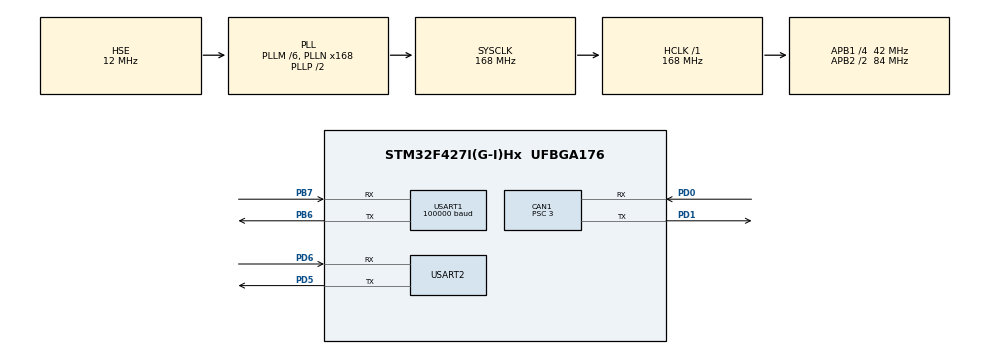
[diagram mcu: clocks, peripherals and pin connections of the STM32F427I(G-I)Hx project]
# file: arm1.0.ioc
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CAN1.BS1=CAN_BS1_10TQ
CAN1.BS2=CAN_BS2_3TQ
CAN1.CalculateBaudRate=1000000
CAN1.CalculateTimeBit=1000
CAN1.CalculateTimeQuantum=71.42857142857143
CAN1.Prescaler=3
Dma.Request0=USART2_RX
Dma.Request1=USART1_RX
Dma.Request2=USART2_TX
Dma.USART1_RX.1.Direction=DMA_PERIPH_TO_MEMORY
Dma.USART1_RX.1.FIFOMode=DMA_FIFOMODE_DISABLE
Dma.USART1_RX.1.Instance=DMA2_Stream2
Dma.USART1_RX.1.MemDataAlignment=DMA_MDATAALIGN_BYTE
Dma.USART1_RX.1.MemInc=DMA_MINC_ENABLE
Dma.USART1_RX.1.Mode=DMA_NORMAL
Dma.USART1_RX.1.PeriphDataAlignment=DMA_PDATAALIGN_BYTE
Dma.USART1_RX.1.PeriphInc=DMA_PINC_DISABLE
Dma.USART1_RX.1.Priority=DMA_PRIORITY_LOW
Dma.USART2_RX.0.Direction=DMA_PERIPH_TO_MEMORY
Dma.USART2_RX.0.FIFOMode=DMA_FIFOMODE_DISABLE
Dma.USART2_RX.0.Instance=DMA1_Stream5
Dma.USART2_RX.0.MemDataAlignment=DMA_MDATAALIGN_BYTE
Dma.USART2_RX.0.MemInc=DMA_MINC_ENABLE
Dma.USART2_RX.0.Mode=DMA_NORMAL
Dma.USART2_RX.0.PeriphDataAlignment=DMA_PDATAALIGN_BYTE
Dma.USART2_RX.0.PeriphInc=DMA_PINC_DISABLE
Dma.USART2_RX.0.Priority=DMA_PRIORITY_LOW
Dma.USART2_TX.2.Direction=DMA_MEMORY_TO_PERIPH
Dma.USART2_TX.2.FIFOMode=DMA_FIFOMODE_DISABLE
Dma.USART2_TX.2.Instance=DMA1_Stream6
Dma.USART2_TX.2.MemDataAlignment=DMA_MDATAALIGN_BYTE
Dma.USART2_TX.2.MemInc=DMA_MINC_ENABLE
Dma.USART2_TX.2.Mode=DMA_NORMAL
Dma.USART2_TX.2.PeriphDataAlignment=DMA_PDATAALIGN_BYTE
Dma.USART2_TX.2.PeriphInc=DMA_PINC_DISABLE
Dma.USART2_TX.2.Priority=DMA_PRIORITY_LOW
Mcu.Family=STM32F4
Mcu.Name=STM32F427I(G-I)Hx
Mcu.Package=UFBGA176
NVIC.CAN1_RX0_IRQn=true\:0\:0\:false\:false\:true\:true\:true\:true
NVIC.DMA1_Stream5_IRQn=true\:0\:0\:false\:false\:true\:false\:true\:true
NVIC.DMA1_Stream6_IRQn=true\:0\:0\:false\:false\:true\:false\:true\:true
NVIC.DMA2_Stream2_IRQn=true\:0\:0\:false\:false\:true\:false\:true\:true
NVIC.PriorityGroup=NVIC_PRIORITYGROUP_4
NVIC.USART1_IRQn=true\:0\:0\:false\:false\:true\:true\:true\:true
NVIC.USART2_IRQn=true\:0\:0\:false\:false\:true\:true\:true\:true
PA13.Mode=Serial_Wire
PA13.Signal=SYS_JTMS-SWDIO
PA14.Mode=Serial_Wire
PA14.Signal=SYS_JTCK-SWCLK
PB6.Mode=Asynchronous
PB6.Signal=USART1_TX
PB7.Mode=Asynchronous
PB7.Signal=USART1_RX
PD0.Mode=CAN_Activate
PD0.Signal=CAN1_RX
PD1.Mode=CAN_Activate
PD1.Signal=CAN1_TX
PD5.Mode=Asynchronous
PD5.Signal=USART2_TX
PD6.Mode=Asynchronous
PD6.Signal=USART2_RX
PH0/OSC_IN.Mode=HSE-External-Oscillator
PH0/OSC_IN.Signal=RCC_OSC_IN
PH1/OSC_OUT.Mode=HSE-External-Oscillator
PH1/OSC_OUT.Signal=RCC_OSC_OUT
ProjectManager.HeapSize=0x200
ProjectManager.StackSize=0x400
ProjectManager.TargetToolchain=MDK-ARM V5.32
RCC.48MHZClocksFreq_Value=84000000
RCC.AHBFreq_Value=168000000
RCC.APB1CLKDivider=RCC_HCLK_DIV4
RCC.APB1Freq_Value=42000000
RCC.APB1TimFreq_Value=84000000
RCC.APB2CLKDivider=RCC_HCLK_DIV2
RCC.APB2Freq_Value=84000000
RCC.APB2TimFreq_Value=168000000
RCC.CortexFreq_Value=168000000
RCC.HCLKFreq_Value=168000000
RCC.HSE_VALUE=12000000
RCC.HSI_VALUE=16000000
RCC.LSE_VALUE=32768
RCC.PLLM=6
RCC.PLLN=168
RCC.PLLSourceVirtual=RCC_PLLSOURCE_HSE
RCC.SYSCLKFreq_VALUE=168000000
RCC.SYSCLKSource=RCC_SYSCLKSOURCE_PLLCLK
RCC.VCOOutputFreq_Value=336000000
USART1.BaudRate=100000
USART1.Mode=MODE_RX
USART1.Parity=PARITY_EVEN
USART1.StopBits=STOPBITS_2
USART1.VirtualMode=VM_ASYNC
USART1.WordLength=WORDLENGTH_9B
USART2.VirtualMode=VM_ASYNC
board=custom

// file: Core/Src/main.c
/* USER CODE BEGIN Header */
/**
 ******************************************************************************
 * @file           : main.c
 * @brief          : Main program body
 ******************************************************************************
 * @attention
 *
 * Copyright (c) 2026 STMicroelectronics.
 * All rights reserved.
 *
 * This software is licensed under terms that can be found in the LICENSE file
 * in the root directory of this software component.
 * If no LICENSE file comes with this software, it is provided AS-IS.
 *
 ******************************************************************************
 */
/* USER CODE END Header */
#include "main.h"
#include "can.h"
#include "dma.h"
#include "usart.h"
#include "gpio.h"

/* USER CODE BEGIN Includes */
#include "stdio.h"
#include "bsp_can.h"
#include "DMmotor.h"
#include "sbus.h"
#include "protocol.h"
/* USER CODE END Includes */

/* USER CODE BEGIN PD */
// int fputc(int ch, FILE *f)
//{
//   HAL_UART_Transmit(&huart2, (uint8_t *)&ch, 1, HAL_MAX_DELAY);
//   return ch;
// }
/* USER CODE END PD */

void SystemClock_Config(void);

int main(void)
{

  /* MCU Configuration--------------------------------------------------------*/

  /* Reset of all peripherals, Initializes the Flash interface and the Systick. */
  HAL_Init();

  /* Configure the system clock */
  SystemClock_Config();

  /* Initialize all configured peripherals */
  MX_GPIO_Init();
  MX_DMA_Init();
  MX_CAN1_Init();
  MX_USART1_UART_Init();
  MX_USART2_UART_Init();
  /* USER CODE BEGIN 2 */
  Protocol_Init();                                   // 初始化协�????
  Can_Filter_Init();                                 // 初始化滤波器
  DMmotor_init_all();                                // 初始化电�?????
  arm_init();                                        // 初始化机械臂
  HAL_UART_Receive_DMA(&huart1, sbus_rx_buffer, 25); // �?????启DMA接收
  g_actual_angles[motor[0].id - 1] = 1.0f;
  /* USER CODE END 2 */

  /* Infinite loop */
  /* USER CODE BEGIN WHILE */
  while (1)
  {
    Protocol_Process(); // 协议处理

    // if (is_arm_init == 1)
    // {
    //     if (sbus_rx_data.channel0 != 0 &&
    //         sbus_rx_data.channel1 != 0 &&
    //         sbus_rx_data.channel2 != 0 &&
    //         sbus_rx_data.channel3 != 0 &&
    //         sbus_rx_data.sw0 != 0 &&
    //         sbus_rx_data.sw1 != 0 &&
    //         sbus_rx_data.sw2 != 0 &&
    //         sbus_rx_data.sw3 != 0)
    //     {
    //         all_motor_crtl();
    //     }
    //     else
    //     {
    //         pos[0] = 0.0f;
    //         pos[1] = 0.0f;
    //         pos[2] = 0.0f;
    //         pos[3] = 0.0f;
    //     }
    // }
    all_motor_crtl();
    /* USER CODE END WHILE */

  }
}

void SystemClock_Config(void)
{
  RCC_OscInitTypeDef RCC_OscInitStruct = {0};
  RCC_ClkInitTypeDef RCC_ClkInitStruct = {0};

  /** Configure the main internal regulator output voltage
  */
  __HAL_RCC_PWR_CLK_ENABLE();
  __HAL_PWR_VOLTAGESCALING_CONFIG(PWR_REGULATOR_VOLTAGE_SCALE1);

  /** Initializes the RCC Oscillators according to the specified parameters
  * in the RCC_OscInitTypeDef structure.
  */
  RCC_OscInitStruct.OscillatorType = RCC_OSCILLATORTYPE_HSE;
  RCC_OscInitStruct.HSEState = RCC_HSE_ON;
  RCC_OscInitStruct.PLL.PLLState = RCC_PLL_ON;
  RCC_OscInitStruct.PLL.PLLSource = RCC_PLLSOURCE_HSE;
  RCC_OscInitStruct.PLL.PLLM = 6;
  RCC_OscInitStruct.PLL.PLLN = 168;
  RCC_OscInitStruct.PLL.PLLP = RCC_PLLP_DIV2;
  RCC_OscInitStruct.PLL.PLLQ = 4;
  if (HAL_RCC_OscConfig(&RCC_OscInitStruct) != HAL_OK)
  {
    Error_Handler();
  }

  /** Initializes the CPU, AHB and APB buses clocks
  */
  RCC_ClkInitStruct.ClockType = RCC_CLOCKTYPE_HCLK|RCC_CLOCKTYPE_SYSCLK
                              |RCC_CLOCKTYPE_PCLK1|RCC_CLOCKTYPE_PCLK2;
  RCC_ClkInitStruct.SYSCLKSource = RCC_SYSCLKSOURCE_PLLCLK;
  RCC_ClkInitStruct.AHBCLKDivider = RCC_SYSCLK_DIV1;
  RCC_ClkInitStruct.APB1CLKDivider = RCC_HCLK_DIV4;
  RCC_ClkInitStruct.APB2CLKDivider = RCC_HCLK_DIV2;

  if (HAL_RCC_ClockConfig(&RCC_ClkInitStruct, FLASH_LATENCY_5) != HAL_OK)
  {
    Error_Handler();
  }
}

/* USER CODE BEGIN 4 */
/************************************************************************
 * @name:        HAL_CAN_RxFifoFillLevelCallback
 * @brief:       CAN接收中断回调函数
 * @param[in]:   hcan:  指向CAN_HandleTypeDef结构的指�??????
 * @retval:      void
 * @details:     CAN接收中断回调函数，当CAN接收FIFO0有数据时，将数据存入rx_data数组
 * ************************************************************************/
uint8_t rx_data[8];
void HAL_CAN_RxFifo0MsgPendingCallback(CAN_HandleTypeDef *hcan)
{
  if (hcan->Instance == CAN1)
  {
    CAN_RxHeaderTypeDef rx_header;
    HAL_CAN_GetRxMessage(&hcan1, CAN_RX_FIFO0, &rx_header, rx_data);
    uint8_t id = (rx_data[0]) & 0x0F;
    uint8_t state = (rx_data[0]) >> 4;
    if (id >= 1 && id <= 4)
    {
      motor_t *m = &motor[id - 1];
      DMmotor_fbdata(m, rx_data);
    }
  }
}

void HAL_UART_RxCpltCallback(UART_HandleTypeDef *huart)
{
  if (huart->Instance == USART1)
  {
    sbus_decode(sbus_rx_buffer, &sbus_rx_data);
    // HAL_UART_Receive_DMA(&huart1, sbus_rx_buffer, 25);
  }
}
/* 错误处理：任何错误都重启接收，保证鲁棒�?? */
void HAL_UART_ErrorCallback(UART_HandleTypeDef *huart)
{
  if (huart->Instance == USART1)
  {
    /* 发生溢出、帧错误等，重新启动 DMA 接收 */
    HAL_UART_Receive_DMA(&huart1, sbus_rx_buffer, 25);
  }
  else if (huart->Instance == USART2)
  {
    HAL_UART_AbortReceive(huart);
    Protocol_On_UART_Error();
    HAL_UART_Receive_DMA(&huart2, (uint8_t *)rx_ring_buf, RX_RING_BUF_SIZE);
  }
}
/* USER CODE END 4 */

void Error_Handler(void)
{
  __disable_irq();
  while (1)
  {
  }
}
